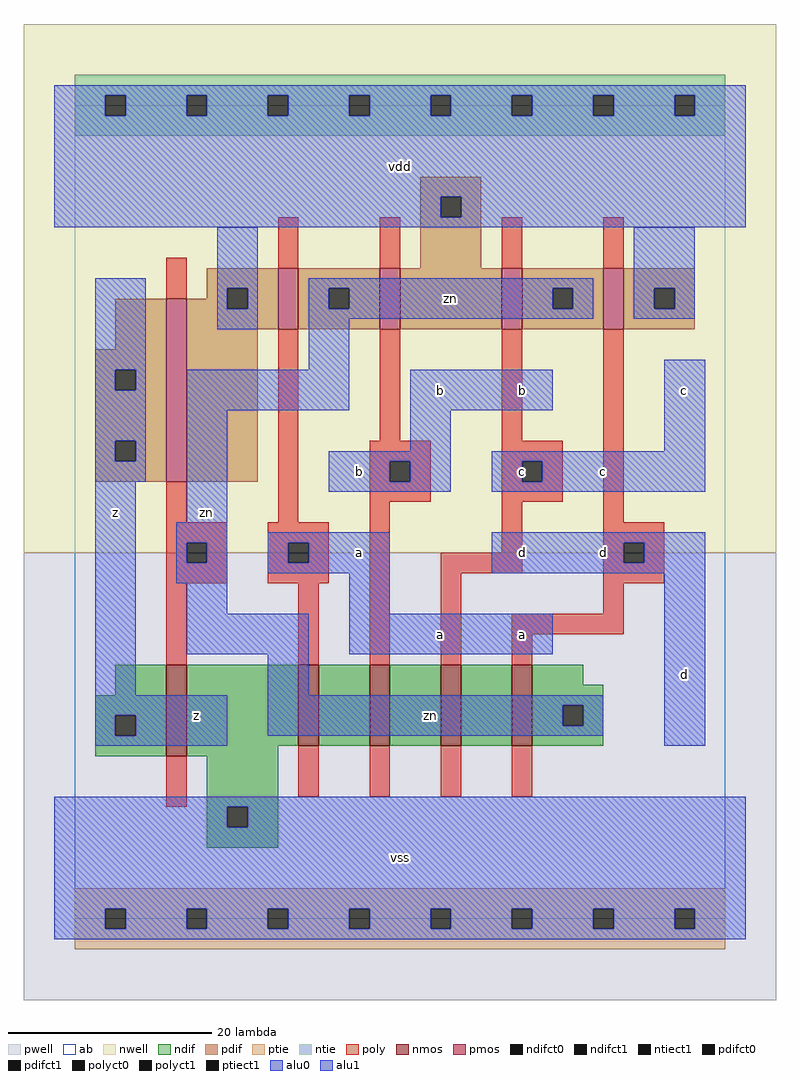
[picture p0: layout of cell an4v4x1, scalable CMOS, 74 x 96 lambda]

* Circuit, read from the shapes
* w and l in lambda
.subckt an4v4x1 a b c d vdd vss z zn
M1 vss zn z vss nfet w=9 l=2
M2 n1 a vss vss nfet w=8 l=2
M3 n2 b n1 vss nfet w=8 l=2
M4 n3 c n2 vss nfet w=8 l=2
M5 zn d n3 vss nfet w=8 l=2
M6 vdd zn z vdd pfet w=18 l=2
M7 zn a vdd vdd pfet w=6 l=2
M8 vdd b zn vdd pfet w=6 l=2
M9 zn c vdd vdd pfet w=6 l=2
M10 vdd d zn vdd pfet w=6 l=2
.ends

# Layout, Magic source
magic
tech scmos
<< ab >>
rect 0 0 64 80
<< nwell >>
rect -5 36 69 88
<< pwell >>
rect -5 -8 69 36
<< poly >>
rect 9 61 11 65
rect 20 64 22 69
rect 30 64 32 69
rect 42 64 44 69
rect 52 64 54 69
rect 9 39 11 43
rect 20 39 22 58
rect 30 47 32 58
rect 42 47 44 58
rect 29 45 35 47
rect 29 43 31 45
rect 33 43 35 45
rect 29 41 35 43
rect 42 45 48 47
rect 42 43 44 45
rect 46 43 48 45
rect 42 41 48 43
rect 9 37 15 39
rect 9 35 11 37
rect 13 35 15 37
rect 9 33 15 35
rect 19 37 25 39
rect 19 35 21 37
rect 23 35 25 37
rect 19 33 25 35
rect 9 25 11 33
rect 22 25 24 33
rect 29 25 31 41
rect 42 36 44 41
rect 36 34 44 36
rect 52 39 54 58
rect 52 37 58 39
rect 52 35 54 37
rect 56 35 58 37
rect 36 25 38 34
rect 52 33 58 35
rect 52 30 54 33
rect 43 28 54 30
rect 43 25 45 28
rect 9 11 11 16
rect 22 12 24 17
rect 29 12 31 17
rect 36 12 38 17
rect 43 12 45 17
<< ndif >>
rect 4 22 9 25
rect 2 20 9 22
rect 2 18 4 20
rect 6 18 9 20
rect 2 16 9 18
rect 11 17 22 25
rect 24 17 29 25
rect 31 17 36 25
rect 38 17 43 25
rect 45 23 50 25
rect 45 21 52 23
rect 45 19 48 21
rect 50 19 52 21
rect 45 17 52 19
rect 11 16 20 17
rect 13 11 20 16
rect 13 9 15 11
rect 17 9 20 11
rect 13 7 20 9
<< pdif >>
rect 34 71 40 73
rect 34 69 36 71
rect 38 69 40 71
rect 34 64 40 69
rect 13 62 20 64
rect 13 61 15 62
rect 4 56 9 61
rect 2 54 9 56
rect 2 52 4 54
rect 6 52 9 54
rect 2 47 9 52
rect 2 45 4 47
rect 6 45 9 47
rect 2 43 9 45
rect 11 60 15 61
rect 17 60 20 62
rect 11 58 20 60
rect 22 62 30 64
rect 22 60 25 62
rect 27 60 30 62
rect 22 58 30 60
rect 32 58 42 64
rect 44 62 52 64
rect 44 60 47 62
rect 49 60 52 62
rect 44 58 52 60
rect 54 62 61 64
rect 54 60 57 62
rect 59 60 61 62
rect 54 58 61 60
rect 11 43 18 58
<< alu1 >>
rect -2 81 66 82
rect -2 79 3 81
rect 5 79 11 81
rect 13 79 19 81
rect 21 79 27 81
rect 29 79 35 81
rect 37 79 43 81
rect 45 79 51 81
rect 53 79 59 81
rect 61 79 66 81
rect -2 71 66 79
rect -2 69 36 71
rect 38 69 66 71
rect -2 68 66 69
rect 2 54 7 63
rect 2 52 4 54
rect 6 52 7 54
rect 2 47 7 52
rect 2 45 4 47
rect 6 45 7 47
rect 2 43 7 45
rect 33 50 47 54
rect 2 22 6 43
rect 33 46 37 50
rect 58 46 62 55
rect 25 45 37 46
rect 25 43 31 45
rect 33 43 37 45
rect 25 42 37 43
rect 41 45 62 46
rect 41 43 44 45
rect 46 43 62 45
rect 41 42 62 43
rect 19 37 31 38
rect 19 35 21 37
rect 23 35 31 37
rect 19 34 31 35
rect 41 37 62 38
rect 41 35 54 37
rect 56 35 62 37
rect 41 34 62 35
rect 27 30 31 34
rect 27 26 47 30
rect 2 20 15 22
rect 2 18 4 20
rect 6 18 15 20
rect 2 17 15 18
rect 58 17 62 34
rect -2 11 66 12
rect -2 9 15 11
rect 17 9 66 11
rect -2 1 66 9
rect -2 -1 3 1
rect 5 -1 11 1
rect 13 -1 19 1
rect 21 -1 27 1
rect 29 -1 35 1
rect 37 -1 43 1
rect 45 -1 51 1
rect 53 -1 59 1
rect 61 -1 66 1
rect -2 -2 66 -1
<< ptie >>
rect 0 1 64 3
rect 0 -1 3 1
rect 5 -1 11 1
rect 13 -1 19 1
rect 21 -1 27 1
rect 29 -1 35 1
rect 37 -1 43 1
rect 45 -1 51 1
rect 53 -1 59 1
rect 61 -1 64 1
rect 0 -3 64 -1
<< ntie >>
rect 0 81 64 83
rect 0 79 3 81
rect 5 79 11 81
rect 13 79 19 81
rect 21 79 27 81
rect 29 79 35 81
rect 37 79 43 81
rect 45 79 51 81
rect 53 79 59 81
rect 61 79 64 81
rect 0 77 64 79
<< nmos >>
rect 9 16 11 25
rect 22 17 24 25
rect 29 17 31 25
rect 36 17 38 25
rect 43 17 45 25
<< pmos >>
rect 9 43 11 61
rect 20 58 22 64
rect 30 58 32 64
rect 42 58 44 64
rect 52 58 54 64
<< polyct0 >>
rect 11 35 13 37
<< polyct1 >>
rect 31 43 33 45
rect 44 43 46 45
rect 21 35 23 37
rect 54 35 56 37
<< ndifct0 >>
rect 48 19 50 21
<< ndifct1 >>
rect 4 18 6 20
rect 15 9 17 11
<< ntiect1 >>
rect 3 79 5 81
rect 11 79 13 81
rect 19 79 21 81
rect 27 79 29 81
rect 35 79 37 81
rect 43 79 45 81
rect 51 79 53 81
rect 59 79 61 81
<< ptiect1 >>
rect 3 -1 5 1
rect 11 -1 13 1
rect 19 -1 21 1
rect 27 -1 29 1
rect 35 -1 37 1
rect 43 -1 45 1
rect 51 -1 53 1
rect 59 -1 61 1
<< pdifct0 >>
rect 15 60 17 62
rect 25 60 27 62
rect 47 60 49 62
rect 57 60 59 62
<< pdifct1 >>
rect 36 69 38 71
rect 4 52 6 54
rect 4 45 6 47
<< alu0 >>
rect 14 62 18 68
rect 14 60 15 62
rect 17 60 18 62
rect 14 58 18 60
rect 23 62 51 63
rect 23 60 25 62
rect 27 60 47 62
rect 49 60 51 62
rect 23 59 51 60
rect 55 62 61 68
rect 55 60 57 62
rect 59 60 61 62
rect 55 59 61 60
rect 23 54 27 59
rect 11 50 27 54
rect 11 39 15 50
rect 10 37 15 39
rect 10 35 11 37
rect 13 35 15 37
rect 10 33 15 35
rect 11 30 15 33
rect 11 26 23 30
rect 19 22 23 26
rect 19 21 52 22
rect 19 19 48 21
rect 50 19 52 21
rect 19 18 52 19
<< labels >>
rlabel alu0 13 40 13 40 6 zn
rlabel alu0 35 20 35 20 6 zn
rlabel alu0 37 61 37 61 6 zn
rlabel alu1 12 20 12 20 6 z
rlabel alu1 4 40 4 40 6 z
rlabel alu1 28 36 28 36 6 a
rlabel alu1 28 44 28 44 6 b
rlabel alu1 32 6 32 6 6 vss
rlabel alu1 36 28 36 28 6 a
rlabel alu1 44 36 44 36 6 d
rlabel alu1 44 28 44 28 6 a
rlabel alu1 44 44 44 44 6 c
rlabel alu1 36 52 36 52 6 b
rlabel alu1 44 52 44 52 6 b
rlabel alu1 32 74 32 74 6 vdd
rlabel alu1 52 36 52 36 6 d
rlabel alu1 60 24 60 24 6 d
rlabel alu1 52 44 52 44 6 c
rlabel alu1 60 52 60 52 6 c
<< end >>
